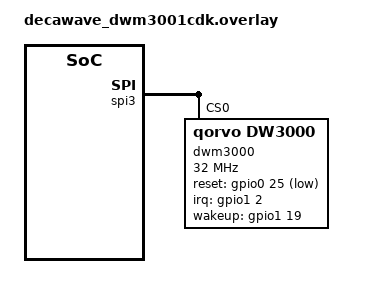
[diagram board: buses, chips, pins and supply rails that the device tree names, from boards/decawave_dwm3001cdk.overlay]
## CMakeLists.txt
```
cmake_minimum_required(VERSION 3.20)

set(BOARD decawave_dwm3001cdk)

set(DTS_ROOT "${CMAKE_CURRENT_SOURCE_DIR}")
get_filename_component(REPO_ROOT "${CMAKE_CURRENT_SOURCE_DIR}/../.." ABSOLUTE)
list(APPEND DTS_ROOT "${REPO_ROOT}")

find_package(Zephyr REQUIRED HINTS $ENV{ZEPHYR_BASE})
project(wireless_time_sync_master)

add_subdirectory(../../drivers/dw3000 dw3000)

target_include_directories(app PRIVATE
    ../../drivers/dw3000/inc
    ../../drivers/platform
)

target_sources(app PRIVATE
    src/main.c
    ../../drivers/platform/dw3000_spi.c
    ../../drivers/platform/dw3000_hw.c
    ../../drivers/platform/port.c
    ../../drivers/platform/deca_port.c
)
```

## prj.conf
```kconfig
CONFIG_SPI=y
CONFIG_GPIO=y
CONFIG_UART_CONSOLE=y
CONFIG_PRINTK=y
CONFIG_LOG=y
CONFIG_LOG_DEFAULT_LEVEL=3
CONFIG_LOG_MODE_IMMEDIATE=y
CONFIG_MAIN_STACK_SIZE=4096
CONFIG_HEAP_MEM_POOL_SIZE=8192

CONFIG_FPU=y
CONFIG_FPU_SHARING=y
```

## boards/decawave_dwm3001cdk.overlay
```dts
// SPI property defined cause UWB module uses SPI connection

&spi3 {
    dwm3000: dw3000@0 {
        compatible = "qorvo,dw3000";
        spi-max-frequency = <32000000>;
        status = "okay";
        reg = <0>;
        reset-gpios = <&gpio0 25 GPIO_ACTIVE_LOW>;
        irq-gpios = <&gpio1 2 GPIO_ACTIVE_HIGH>;
        wakeup-gpios = <&gpio1 19 GPIO_ACTIVE_HIGH>;
        cs-gpios = <&gpio1 6 GPIO_ACTIVE_LOW>;
    };
};
```

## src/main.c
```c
/* MASTER ANCHOR */

#include <zephyr/kernel.h>
#include <zephyr/logging/log.h>

#include "deca_device_api.h"
#include "deca_probe_interface.h"
#include "dw3000_hw.h"
#include "port.h"

LOG_MODULE_REGISTER(tdoa_master, LOG_LEVEL_INF);

#define NODE_ID 1
#define ANT_DLY 26194

#define MSG_SYNC 0x10
#define SYNC_PERIOD_MS 100
#define UUS_TO_DWT_TIME 63898


static dwt_config_t config = {
    .chan = 9,
    .txPreambLength = DWT_PLEN_128,
    .rxPAC = DWT_PAC8,
    .txCode = 9,
    .rxCode = 9,
    .sfdType = DWT_SFD_DW_8,
    .dataRate = DWT_BR_6M8,
    .phrMode = DWT_PHRMODE_STD,
    .phrRate = DWT_PHRRATE_STD,
    .sfdTO = (129 + 8 - 8),
    .stsMode = DWT_STS_MODE_OFF,
    .stsLength = DWT_STS_LEN_64,
    .pdoaMode = DWT_PDOA_M0,
};


static uint64_t get_tx_ts(void)
{
    uint8_t ts[5];
    dwt_readtxtimestamp(ts);

    uint64_t val = 0;

    for(int i=4;i>=0;i--)
        val = (val<<8) | ts[i];

    return val;
}

static int uwb_init(void)
{
    dw_device_init();
    dw3000_hw_wakeup_pin_low();
    Sleep(5);

    port_set_dw_ic_spi_slowrate();

    if(dwt_probe((struct dwt_probe_s*)&dw3000_probe_interf)!=DWT_SUCCESS)
        return -1;

    port_set_dw_ic_spi_fastrate();

    if(dwt_initialise(DWT_DW_INIT)!=DWT_SUCCESS)
        return -1;

    if(dwt_configure(&config)!=DWT_SUCCESS)
        return -1;

    dwt_settxantennadelay(ANT_DLY);
    dwt_setrxantennadelay(ANT_DLY);

    return 0;
}

static void master_sync_loop(void)
{
    uint8_t sync_msg[16];

    uint16_t seq = 0;

    uint64_t next_tx_time;
    uint64_t last_tx_time = 0;

    uint8_t ts[5];
    uint64_t now = 0;

    dwt_readsystime(ts);

    for(int i=4;i>=0;i--)
        now = (now<<8) | ts[i];

    next_tx_time = now + (SYNC_PERIOD_MS * 1000 * UUS_TO_DWT_TIME);

    while(1)
    {
        sync_msg[0] = MSG_SYNC;
        sync_msg[1] = seq;
        sync_msg[2] = NODE_ID;

        for(int i=0;i<5;i++)
            sync_msg[3+i] = (last_tx_time>>(8*i));

        dwt_writetxdata(8, sync_msg, 0);
        dwt_writetxfctrl(8+FCS_LEN,0,0);

        dwt_setdelayedtrxtime(next_tx_time >> 8);
        dwt_starttx(DWT_START_TX_DELAYED);

        while(!(dwt_readsysstatuslo() &
               DWT_INT_TXFRS_BIT_MASK));

        dwt_writesysstatuslo(DWT_INT_TXFRS_BIT_MASK);

        last_tx_time = get_tx_ts();


        LOG_INF("MASTER,%u,%llu", seq, last_tx_time);

        next_tx_time += (SYNC_PERIOD_MS * 1000 * UUS_TO_DWT_TIME);

        seq++;
    }
}

int main(void)
{
    LOG_INF("TDOA Master Anchor Start");

    if(uwb_init()!=0)
    {
        LOG_ERR("Init failed");
        return -1;
    }

    master_sync_loop();

    return 0;
}
```
